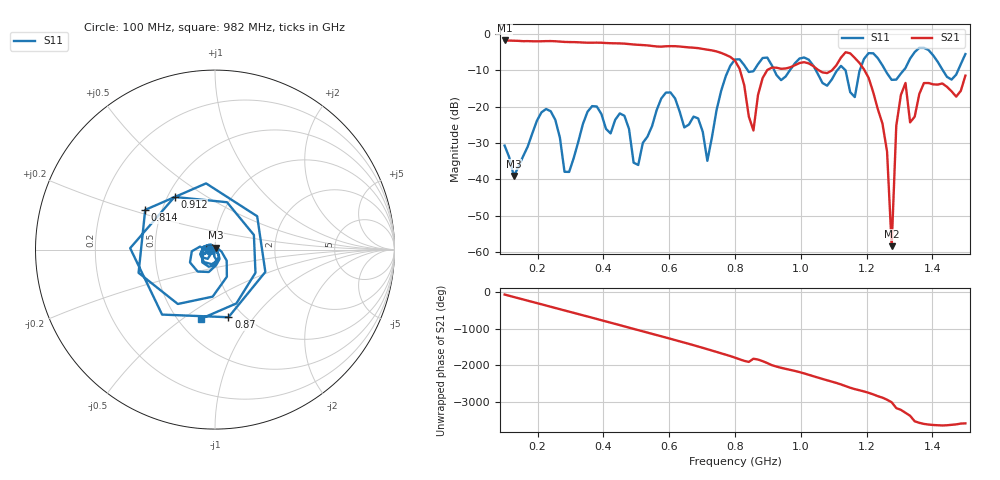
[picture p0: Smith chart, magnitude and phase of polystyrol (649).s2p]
! NanoVNA-App
! Date: 2025-09-25 15:34:56
! Start: 100MHz Stop: 1,5GHz Points: 101
! S-Parameter data: F S11 S21 S12 S22
# Hz S RI R 50
!  Frequency  S11_Real  S11_Imag  S21_Real  S21_Imag  S12_Real  S12_Imag  S22_Real  S22_Imag
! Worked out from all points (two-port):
!   101 points, 100 MHz to 1.5 GHz, reference 50 ohm
!   highest |S21| = -1.80 dB at 100 MHz (marker M1); lowest = -58.4 dB at 1.276 GHz (marker M2)
!   |S21| within 3 dB of the highest: start of sweep to 743 MHz
!   lowest |S11| = -39.1 dB at 128 MHz (marker M3), VSWR 1.02, Z = 50.3 + j1.06 ohm
!   |S11| at or under -10 dB: start of sweep to 779.8 MHz; 1.046 GHz to 1.111 GHz (65.16 MHz wide, 6.04 % of centre); 1.136 GHz to 1.179 GHz (43.43 MHz wide, 3.75 % of centre) (the widest 3 of 7)
!   S12 and S22 are empty: the file has one direction only
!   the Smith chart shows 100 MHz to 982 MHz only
!   S11 on the Smith chart (normalised r, x): 100 MHz: 0.94, -0.01; 814 MHz: 0.40, +0.22; 870 MHz: 0.85, -0.76; 912 MHz: 0.54, +0.37; 982 MHz: 0.64, -0.59
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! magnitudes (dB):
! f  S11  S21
! 100 MHz  -30.7  -1.8
! 128 MHz  -39.1  -1.9
! 212 MHz  -21.6  -2.0
! 282 MHz  -37.9  -2.2
! 338 MHz  -24.8  -2.4
! 506 MHz  -36.1  -3.0
! 576 MHz  -17.8  -3.5
! 716 MHz  -34.9  -4.3
! 800 MHz  -7.0  -7.4
! 814 MHz  -7.0  -9.6
! 856 MHz  -10.3  -26.6
! 870 MHz  -8.3  -16.8
! 912 MHz  -8.6  -9.3
! 982 MHz  -8.1  -8.6
! 1.038 GHz  -8.7  -8.9
! 1.164 GHz  -17.4  -6.6
! 1.206 GHz  -5.3  -12.1
! 1.262 GHz  -10.8  -32.4
! 1.276 GHz  -12.6  -58.4
! 1.29 GHz  -12.6  -25.3
! 1.318 GHz  -9.4  -13.5
! 1.5 GHz  -5.5  -11.5
